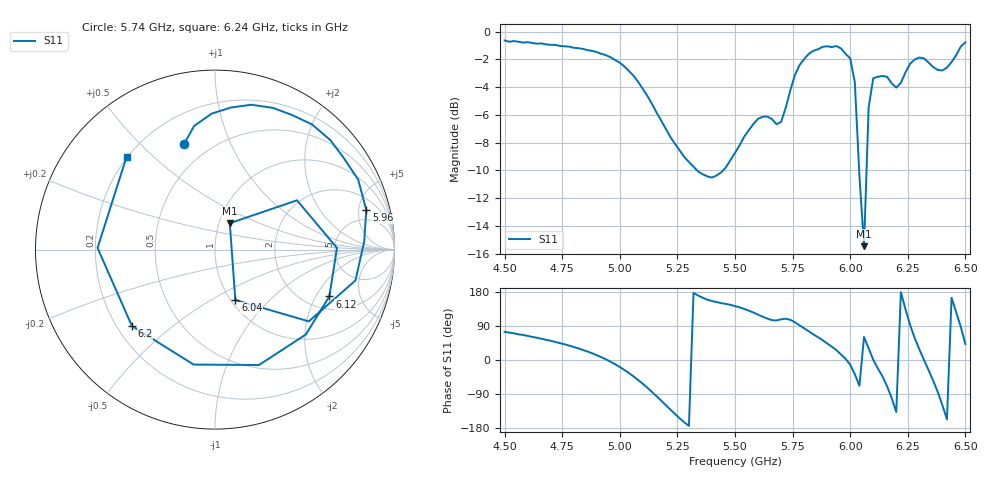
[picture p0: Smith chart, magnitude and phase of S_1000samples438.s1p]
! TOUCHSTONE file generated by CST MICROWAVE STUDIO
! Date and time: Fri Oct 28 04:28:45 2022
! Project name: L.cst
! Parameters = {Di=1.27; Epsilon_r=1.56; InnerDiameter=1.27; Length=2; Lf=10; Lg=60; OuterConductorThickness=0.2921; OuterDiameter=3.6; Wf=3; Wp=41.2; de=1.5; df=6.8; g=0.8; gx=4.57336; gy=0.858904; h=2.34; hf=1.524; px=11.3612; py=13.0301; w=9.7; wx=6.78779; wy=12.1712}
! Header version: 2018
! Port assignment regex: !\s*Touchstone port\s*([0-9]+)\s*=\s*(CST MWS port|CST DS port)\s*([0-9]+|Zmin|Zmax)\s*\(\"(.*)\"\)(\s*mode\s*([0-9]+))?.*
! Touchstone port assignment:
! Touchstone port 1 = CST MWS port 1 ("")
# GHz S DB R 50
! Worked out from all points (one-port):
!   101 points, 4.5 GHz to 6.5 GHz, reference 50 ohm
!   lowest |S11| = -15.5 dB at 6.06 GHz (marker M1), VSWR 1.41, Z = 56.3 + j17 ohm
!   |S11| at or under -10 dB: 5.335 GHz to 5.448 GHz (113.1 MHz wide, 2.1 % of centre); 6.039 GHz to 6.071 GHz (32.05 MHz wide, 0.529 % of centre)
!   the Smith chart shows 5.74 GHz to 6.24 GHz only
!   S11 on the Smith chart (normalised r, x): 5.74 GHz: 0.36, +0.69; 5.96 GHz: 3.32, +6.03; 6.04 GHz: 1.05, -0.65; 6.12 GHz: 2.63, -2.61; 6.2 GHz: 0.26, -0.37; 6.24 GHz: 0.20, +0.41
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4.5  -0.63 74.1
4.76  -1.05 41.5
5  -2.23 -18.4
5.12  -4.64 -73.4
5.26  -8.57 -154.1
5.5  -8.74 142.2
5.74  -4.23 106.1
5.76  -3.12 99.6
5.86  -1.27 60.1
5.96  -1.20 14.6
6  -1.93 -12.4
6.02  -3.63 -37.4
6.04  -10.38 -68.0
6.06  -15.47 60.7
6.08  -5.47 31.0
6.12  -3.24 -22.3
6.16  -3.25 -69.1
6.2  -4.03 -137.4
6.22  -3.68 179.2
6.24  -2.93 133.6
6.26  -2.31 92.5
6.3  -1.86 28.4
6.32  -1.92 0.6
6.38  -2.75 -84.4
6.4  -2.79 -118.8
6.44  -2.19 164.3
6.48  -1.07 87.5
6.5  -0.76 42.1
